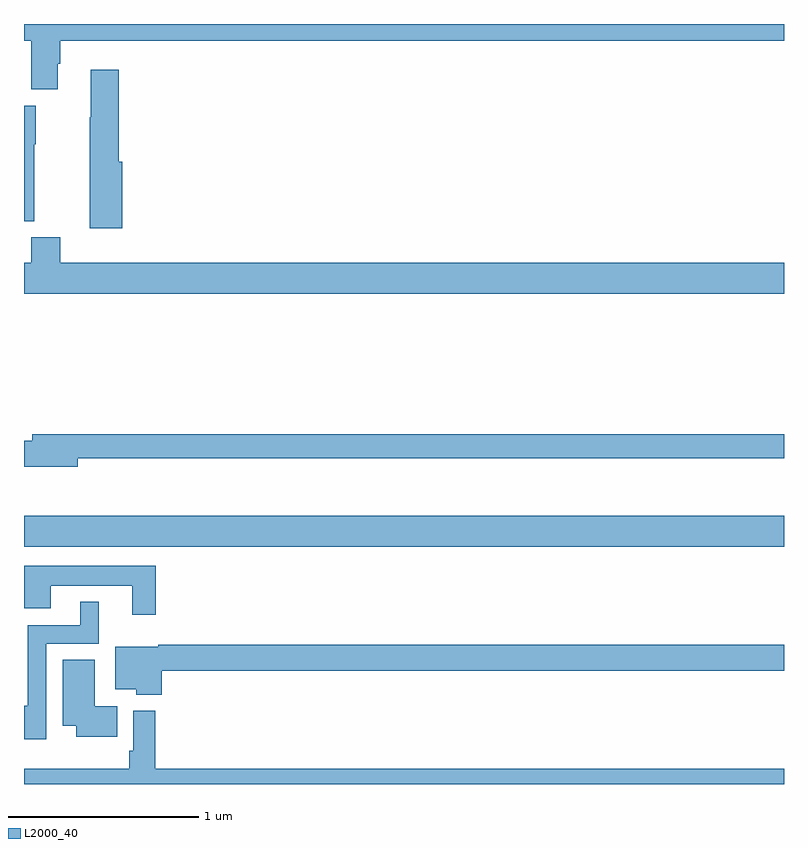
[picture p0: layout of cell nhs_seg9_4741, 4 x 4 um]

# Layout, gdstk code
import gdstk
lib = gdstk.Library(unit=1e-6, precision=1e-09)
def R(c, l, rs):  # rectangles x0, y0, x1, y1
    for r in rs: c.add(gdstk.rectangle(r[:2], r[2:], *l))
def P(c, l, *ps):  # polygons
    for p in ps: c.add(gdstk.Polygon(p, *l))
L2000_40 = (2000, 40)

nhs_seg9_4741 = lib.new_cell('nhs_seg9_4741')
R(nhs_seg9_4741, L2000_40, [(385,1201.748,389,1201.912)])
P(nhs_seg9_4741, L2000_40, [(385.177,1204.29),(385.19,1204.29),(385.19,1204.412),(389,1204.412),(389,1204.5),(385,1204.5),(385,1204.412),(385.037,1204.412),(385.037,1204.156),(385.177,1204.156)],
  [(385.517,1203.774),(385.499,1203.774),(385.499,1204.258),(385.352,1204.258),(385.352,1204.01),(385.345,1204.01),(385.345,1203.774),(385.346,1203.774),(385.346,1203.426),(385.517,1203.426)],
  [(385.055,1203.868),(385.063,1203.868),(385.063,1204.071),(385,1204.071),(385,1203.462),(385.055,1203.462)],
  [(389,1203.244),(385.19,1203.244),(385.19,1203.377),(385.037,1203.377),(385.037,1203.244),(385,1203.244),(385,1203.08),(389,1203.08)],
  [(385.282,1202.214),(389,1202.214),(389,1202.342),(385.043,1202.342),(385.043,1202.306),(385,1202.306),(385,1202.171),(385.282,1202.171)],
  [(385.693,1201.648),(385.001,1201.648),(385.001,1201.521),(385,1201.521),(385,1201.425),(385.141,1201.425),(385.141,1201.544),(385.571,1201.544),(385.571,1201.392),(385.693,1201.392)],
  [(385.116,1201.239),(385.393,1201.239),(385.393,1201.459),(385.295,1201.459),(385.295,1201.335),(385.019,1201.335),(385.019,1200.911),(385,1200.911),(385,1200.735),(385.116,1200.735)],
  [(385.724,1201.096),(389,1201.096),(389,1201.232),(385.707,1201.232),(385.707,1201.222),(385.481,1201.222),(385.481,1200.998),(385.59,1200.998),(385.59,1200.971),(385.724,1200.971)],
  [(385.49,1200.91),(385.372,1200.91),(385.372,1201.154),(385.205,1201.154),(385.205,1200.806),(385.274,1200.806),(385.274,1200.749),(385.49,1200.749)],
  [(389,1200.58),(385.691,1200.58),(385.691,1200.886),(385.575,1200.886),(385.575,1200.676),(385.555,1200.676),(385.555,1200.58),(385,1200.58),(385,1200.5),(389,1200.5)])

lib.write_gds('nhs_seg9_4741.gds')
